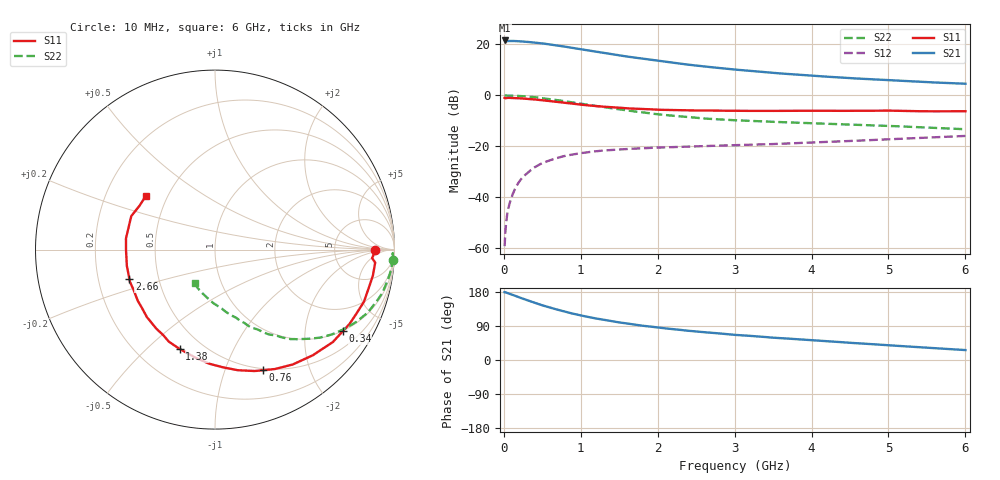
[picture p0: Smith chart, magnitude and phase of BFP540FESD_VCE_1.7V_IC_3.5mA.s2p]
! Infineon Technologies  Discrete & RF Semiconductors
! BFP540FESD
! VCE =  1.7 V,  IC =  3.5 mA
! Common Emitter S-Parameters:  Nov 2015
# GHz  S  MA  R  50
!  f  S11  S21  S12  S22
! GHz  MAG  ANG  MAG  ANG  MAG  ANG  MAG  ANG
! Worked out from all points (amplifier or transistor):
!   210 points, 10 MHz to 6 GHz, reference 50 ohm
!   highest |S21| = 21.5 dB at 10 MHz (marker M1)
!   |S21| within 3 dB of that: start of sweep to 907.9 MHz
!   unconditionally stable (mu >= 1): 2.988 GHz to end of sweep
!   at 185 MHz: K = 0.05, MSG = 27.9 dB, |S12| = -34.6 dB
!   at 1.52 GHz: K = 0.52, MSG = 18.4 dB, |S12| = -21.2 dB
!   at 6 GHz: K = 1.39, MAG = 6.5 dB, |S12| = -15.9 dB
!   S11 on the Smith chart (normalised r, x): 10 MHz: 18, -1; 340 MHz: 0.99, -3.14; 760 MHz: 0.48, -1.36; 1.38 GHz: 0.38, -0.64; 2.66 GHz: 0.34, -0.15; 6 GHz: 0.38, +0.30
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0.01  0.894 -0.2  11.95 179.0  0.0011 90.7  0.994 -3.4
0.02  0.8767 -3.1  11.53 178.8  0.0021 82.4  0.9906 -1.1
0.05  0.8954 -4.6  11.67 176.6  0.0054 86.4  0.9901 -2.9
0.09  0.8919 -8.4  11.64 173.6  0.009 84.8  0.9889 -5.2
0.15  0.8816 -15.0  11.65 169.3  0.0151 83.5  0.9817 -8.6
0.2  0.8793 -19.3  11.49 165.2  0.0203 79.5  0.9719 -11.5
0.34  0.8449 -32.6  11.07 155.3  0.0331 72.3  0.9373 -19.1
0.5  0.8027 -47.1  10.48 144.3  0.0468 65.8  0.8827 -27.3
0.6  0.7729 -55.9  9.953 138.1  0.0533 61.0  0.8438 -31.7
0.76  0.7229 -68.4  9.178 129.4  0.0631 55.3  0.7797 -38.3
0.9  0.6842 -79.2  8.495 122.1  0.0695 50.8  0.7238 -43.3
1.02  0.6534 -87.2  7.946 116.9  0.0742 47.9  0.681 -47.1
1.2  0.6146 -99.4  7.162 109.5  0.0802 43.6  0.619 -52.4
1.38  0.5868 -109.6  6.509 103.3  0.0846 40.4  0.5644 -57.1
1.7  0.5485 -126.6  5.517 93.3  0.0903 36.2  0.4829 -64.5
2.02  0.5216 -140.7  4.735 85.2  0.0947 33.5  0.4232 -70.3
2.4  0.506 -153.9  3.995 77.1  0.0985 31.6  0.3763 -76.3
2.66  0.5045 -160.9  3.617 72.5  0.1015 31.0  0.3472 -80.8
3.1  0.4975 -171.6  3.117 65.1  0.1062 30.3  0.3203 -85.8
4.1  0.4986 171.3  2.379 50.9  0.1202 30.1  0.2805 -96.7
5.1  0.4984 156.5  1.953 37.6  0.1394 28.5  0.2482 -107.9
6  0.4882 142.1  1.691 26.2  0.16 25.6  0.2166 -120.6
